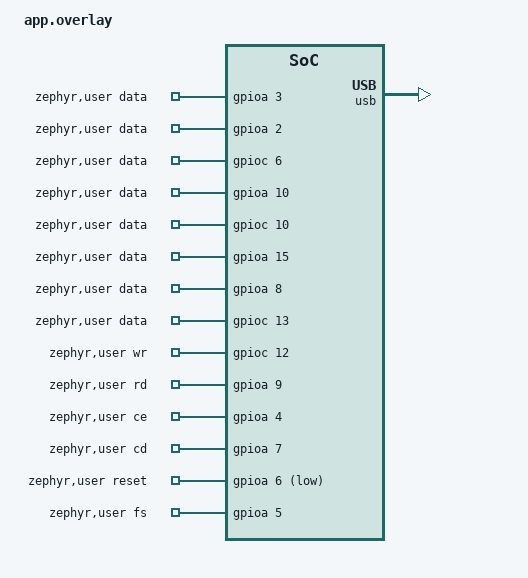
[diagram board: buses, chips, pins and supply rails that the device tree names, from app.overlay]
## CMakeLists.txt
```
# SPDX-License-Identifier: Apache-2.0
cmake_minimum_required(VERSION 3.28.0)

set(BOARD_ROOT ${CMAKE_CURRENT_LIST_DIR}/../..)
find_package(Zephyr REQUIRED HINTS $ENV{ZEPHYR_BASE})
project(tlx_711a)

set(CGROM_SOURCE ${CMAKE_CURRENT_LIST_DIR}/../../docs/CG_RAM0101.txt)
set(CGROM_HEADER ${CMAKE_CURRENT_BINARY_DIR}/generated/cgrom_0101.h)
add_custom_command(
	OUTPUT ${CGROM_HEADER}
	COMMAND ${Python3_EXECUTABLE} ${CMAKE_CURRENT_LIST_DIR}/tools/generate_cgrom.py
		${CGROM_SOURCE} ${CGROM_HEADER}
	DEPENDS ${CGROM_SOURCE} ${CMAKE_CURRENT_LIST_DIR}/tools/generate_cgrom.py
)
add_custom_target(tlx711a_cgrom DEPENDS ${CGROM_HEADER})

target_sources(app PRIVATE
	src/main.c
	src/lcd_bus.c
	src/t6963_emulator.c
	src/transport.c
)

add_dependencies(app tlx711a_cgrom)
target_include_directories(app PRIVATE ${CMAKE_CURRENT_BINARY_DIR}/generated)

target_include_directories(app PRIVATE src)
```

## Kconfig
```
# SPDX-License-Identifier: Apache-2.0

menu "TLX-711A virtual display"

config TLX711A_STATUS_BUSY
	bool "Report T6963 busy status while processing"
	default n

endmenu

source "Kconfig.zephyr"
```

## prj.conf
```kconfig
# SPDX-License-Identifier: Apache-2.0
CONFIG_GPIO=y
CONFIG_SERIAL=y
CONFIG_UART_INTERRUPT_DRIVEN=y
CONFIG_UART_LINE_CTRL=y
CONFIG_UART_USE_RUNTIME_CONFIGURE=y
CONFIG_USB_DEVICE_STACK=y
CONFIG_USB_DEVICE_INITIALIZE_AT_BOOT=y
CONFIG_USB_DEVICE_PRODUCT="TLX-711A virtual display"
CONFIG_USB_CDC_ACM=y
CONFIG_MAIN_STACK_SIZE=2048
CONFIG_SYSTEM_WORKQUEUE_STACK_SIZE=2048
CONFIG_LOG=n
CONFIG_PRINTK=y
```

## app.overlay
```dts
/* SPDX-License-Identifier: Apache-2.0 */
#include <zephyr/dt-bindings/gpio/gpio.h>

/ {
	zephyr,user {
		cdc-baudrate = <256000>;
		/* Nucleo-WB55RG Arduino header mapping. */
		data-gpios = <&gpioa 3 0>,  /* D0 */
				     <&gpioa 2 0>,  /* D1 */
				     <&gpioc 6 0>,  /* D2 */
				     <&gpioa 10 0>, /* D3 */
				     <&gpioc 10 0>, /* D4 */
				     <&gpioa 15 0>, /* D5 */
				     <&gpioa 8 0>,  /* D6 */
				     <&gpioc 13 0>; /* D7 */
		wr-gpios = <&gpioc 12 0>; /* D8 */
		rd-gpios = <&gpioa 9 0>;  /* D9 */
		ce-gpios = <&gpioa 4 0>;  /* D10 */
		cd-gpios = <&gpioa 7 0>;  /* D11 */
		reset-gpios = <&gpioa 6 GPIO_ACTIVE_LOW>; /* D12 */
		fs-gpios = <&gpioa 5 0>;   /* D13 */
		pixels-horizontal = <240>;
		pixels-vertical = <64>;
	};

	chosen {
	};
};

/* Native USB is the transport because D10/PB6 is occupied by LCD /CE. */
&usb {
	status = "okay";
	cdc_acm_uart0: cdc_acm_uart0 {
		compatible = "zephyr,cdc-acm-uart";
		label = "CDC_ACM_0";
		status = "okay";
	};
};

/* SPI1 claims Arduino D10, D11, and D13, which are LCD /CE, C/D, and FS. */
&spi1 {
	status = "disabled";
};

/ {
	chosen {
		zephyr,console = &cdc_acm_uart0;
		zephyr,shell-uart = &cdc_acm_uart0;
	};
};
```

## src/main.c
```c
/* SPDX-License-Identifier: Apache-2.0 */
/** @file @brief Host-controlled T6963 LCD emulator application entry point. */
#include <errno.h>
#include <zephyr/device.h>
#include <zephyr/drivers/gpio.h>
#include <zephyr/kernel.h>
#include <zephyr/sys/printk.h>
#include <string.h>

#include "lcd_bus.h"
#include "t6963_emulator.h"
#include "transport.h"
#include "lcd_bus.h"

static struct t6963_emulator emulator;
static uint8_t emulator_memory[8192];
static uint8_t frame[TLX711A_FRAME_SIZE];
static uint8_t last_frame[TLX711A_FRAME_SIZE];
static volatile bool frame_pending;
static volatile bool frame_sending;
static bool frame_sent;
static const struct gpio_dt_spec status_led = GPIO_DT_SPEC_GET(DT_ALIAS(led1), gpios);

static void emulator_init(void)
{
	static const struct t6963_emulator_config config = {
		.memory_size = sizeof(emulator_memory),
		.hardware_columns = 40U,
		.text_rows = 8U,
		.font_width = 6U,
		.text_area = 40U,
		.graphics_area = 40U,
	};

	(void)t6963_emulator_init_config(&emulator, &config, emulator_memory,
		sizeof(emulator_memory), frame, sizeof(frame));
}

static int led_init(void)
{
	if (!device_is_ready(status_led.port)) {
		return -ENODEV;
	}
	return gpio_pin_configure_dt(&status_led, GPIO_OUTPUT_INACTIVE);
}

static void led_set(bool on)
{
	(void)gpio_pin_set_dt(&status_led, on);
}

static void error_blink(uint32_t on_ms, uint32_t off_ms)
{
	led_set(true);
	k_msleep(on_ms);
	led_set(false);
	k_msleep(off_ms);
}

static void lcd_transaction(bool command, uint8_t value)
{
	if (command) t6963_emulator_command(&emulator, value);
	else t6963_emulator_data(&emulator, value);
	frame_pending = true;
}

static void lcd_reset(void)
{
	emulator_init();
	frame_pending = true;
}

static uint8_t lcd_read(bool command)
{
	return command ? t6963_emulator_read_status(&emulator)
		       : t6963_emulator_read_data(&emulator);
}

static size_t frame_nonzero_bytes(const uint8_t *value, size_t length)
{
	size_t count = 0U;
	for (size_t index = 0U; index < length; ++index) {
		if (value[index] != 0U) ++count;
	}
	return count;
}

int main(void)
{
	int ret;

	ret = led_init();
	if (ret != 0) {
		return ret;
	}
	emulator_init();
	/* The CDC device is initialized by Zephyr before main(). */
	ret = transport_init();
	if (ret != 0) {
		transport_send_info("ERROR: transport init failed");
		while (true) {
			error_blink(100, 900);
		}
	}
	ret = lcd_bus_init(lcd_transaction, lcd_read, lcd_reset);
	if (ret != 0) {
		transport_send_info("ERROR: LCD bus init failed");
		while (true) {
			error_blink(300, 300);
		}
	}
	transport_send_info("TLX-711A emulator ready");
	uint32_t last_ce_count = 0U;
	uint32_t last_write_count = 0U;
	uint32_t last_read_count = 0U;
	uint32_t last_wr_edge_count = 0U;
	uint32_t reported_write_count = 0U;
	int last_font_width = 0;
	while (true) {
		int font_width = lcd_bus_font_width();
		if (font_width > 0 && font_width != last_font_width) {
			char message[96];
			last_font_width = font_width;
			t6963_emulator_set_font_width(&emulator, (uint8_t)font_width);
			frame_pending = true;
			snprintk(message, sizeof(message),
				"FS=%d font width=%d text area=%d graphics area=%d",
				font_width == 6 ? 1 : 0, font_width,
				240 / font_width, 240 / font_width);
			transport_send_info(message);
		}
		led_set(true);
		if (frame_pending) {
			unsigned int key = irq_lock();
			frame_pending = false;
			frame_sending = true;
			irq_unlock(key);
		t6963_emulator_frame(&emulator, frame, sizeof(frame));
			if (!frame_sent || memcmp(frame, last_frame, sizeof(frame)) != 0) {
				transport_send_frame(frame, sizeof(frame));
				memcpy(last_frame, frame, sizeof(frame));
				frame_sent = true;
				transport_send_info("framebuffer updated");
				char message[128];
				snprintk(message, sizeof(message),
					"framebuffer nonzero bytes=%u",
					(unsigned int)frame_nonzero_bytes(frame, sizeof(frame)));
				transport_send_info(message);
				struct t6963_memory_stats stats;
				t6963_emulator_memory_stats(&emulator, &stats);
				snprintk(message, sizeof(message),
					"text nonzero=%u range=0x%04x-0x%04x graphics nonzero=%u range=0x%04x-0x%04x",
					(unsigned int)stats.text_nonzero,
					(unsigned int)stats.text_first_address,
					(unsigned int)stats.text_last_address,
					(unsigned int)stats.graphics_nonzero,
					(unsigned int)stats.graphics_first_address,
					(unsigned int)stats.graphics_last_address);
				transport_send_info(message);
			}
			key = irq_lock();
			frame_sending = false;
			bool again = frame_pending;
			irq_unlock(key);
			if (again) continue;
		}
		if (lcd_bus_ce_count() != last_ce_count ||
		    lcd_bus_write_count() != last_write_count ||
		    lcd_bus_read_count() != last_read_count ||
		    lcd_bus_wr_edge_count() != last_wr_edge_count) {
			char message[96];
			last_ce_count = lcd_bus_ce_count();
			last_write_count = lcd_bus_write_count();
			last_read_count = lcd_bus_read_count();
			last_wr_edge_count = lcd_bus_wr_edge_count();
			snprintk(message, sizeof(message),
				"bus ce=%u wr_edges=%u writes=%u reads=%u",
				(unsigned int)last_ce_count,
				(unsigned int)last_wr_edge_count,
				(unsigned int)last_write_count,
				(unsigned int)last_read_count);
			transport_send_info(message);
		}
		if (lcd_bus_write_count() != reported_write_count) {
			char message[96];
			reported_write_count = lcd_bus_write_count();
			snprintk(message, sizeof(message), "lcd write %s value=0x%02x",
				lcd_bus_last_write_command() ? "command" : "data",
				(unsigned int)lcd_bus_last_write_value());
			transport_send_info(message);
		}
		k_msleep(250);
		led_set(false);
		k_msleep(250);
	}
}
```

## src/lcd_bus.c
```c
/* SPDX-License-Identifier: Apache-2.0 */
#include "lcd_bus.h"

#include <errno.h>
#include <zephyr/device.h>
#include <zephyr/drivers/gpio.h>
#include <zephyr/kernel.h>
#include <zephyr/sys/util.h>

#define DATA_COUNT 8U

static const struct gpio_dt_spec data_pins[DATA_COUNT] = {
	GPIO_DT_SPEC_GET_BY_IDX(DT_PATH(zephyr_user), data_gpios, 0),
	GPIO_DT_SPEC_GET_BY_IDX(DT_PATH(zephyr_user), data_gpios, 1),
	GPIO_DT_SPEC_GET_BY_IDX(DT_PATH(zephyr_user), data_gpios, 2),
	GPIO_DT_SPEC_GET_BY_IDX(DT_PATH(zephyr_user), data_gpios, 3),
	GPIO_DT_SPEC_GET_BY_IDX(DT_PATH(zephyr_user), data_gpios, 4),
	GPIO_DT_SPEC_GET_BY_IDX(DT_PATH(zephyr_user), data_gpios, 5),
	GPIO_DT_SPEC_GET_BY_IDX(DT_PATH(zephyr_user), data_gpios, 6),
	GPIO_DT_SPEC_GET_BY_IDX(DT_PATH(zephyr_user), data_gpios, 7),
};
static const struct gpio_dt_spec cd = GPIO_DT_SPEC_GET(DT_PATH(zephyr_user), cd_gpios);
static const struct gpio_dt_spec wr = GPIO_DT_SPEC_GET(DT_PATH(zephyr_user), wr_gpios);
static const struct gpio_dt_spec rd = GPIO_DT_SPEC_GET(DT_PATH(zephyr_user), rd_gpios);
static const struct gpio_dt_spec ce = GPIO_DT_SPEC_GET(DT_PATH(zephyr_user), ce_gpios);
static const struct gpio_dt_spec reset_pin = GPIO_DT_SPEC_GET(DT_PATH(zephyr_user), reset_gpios);
static const struct gpio_dt_spec fs = GPIO_DT_SPEC_GET(DT_PATH(zephyr_user), fs_gpios);
static struct gpio_callback ce_callback;
static struct gpio_callback wr_callback;
static struct gpio_callback rd_callback;
static struct gpio_callback reset_callback;
static lcd_bus_transaction_cb transaction_callback;
static lcd_bus_read_cb read_callback;
static lcd_bus_reset_cb reset_callback_fn;
static volatile uint8_t read_response;
static volatile uint32_t ce_count;
static volatile uint32_t write_count;
static volatile uint32_t read_count;
static volatile bool cycle_write_seen;
static volatile bool cycle_read_seen;
static volatile bool pending_write;
static volatile bool pending_write_command;
static volatile uint8_t pending_write_value;
static volatile uint32_t wr_edge_count;
static volatile bool pending_read;
static volatile uint8_t last_write_command;
static volatile uint8_t last_write_value;

static int data_direction(bool output);
static uint8_t data_read(void);

static void capture_cycle(void)
{
	if (pending_write && !cycle_write_seen && transaction_callback != NULL) {
		cycle_write_seen = true;
		pending_write = false;
		++write_count;
		last_write_command = pending_write_command;
		last_write_value = pending_write_value;
		transaction_callback(pending_write_command, pending_write_value);
		return;
	}
	if (pending_read && !cycle_read_seen) {
		cycle_read_seen = true;
		pending_read = false;
		++read_count;
		if (read_callback != NULL) {
			read_response = read_callback(gpio_pin_get_dt(&cd) != 0);
		}
		if (data_direction(true) != 0) return;
		for (size_t index = 0U; index < DATA_COUNT; ++index) {
			(void)gpio_pin_set_dt(&data_pins[index],
				(read_response & BIT(index)) != 0);
		}
	}
}

static void write_handler(const struct device *port, struct gpio_callback *cb,
				  uint32_t pins)
{
	ARG_UNUSED(port); ARG_UNUSED(cb); ARG_UNUSED(pins);
	if (gpio_pin_get_dt(&wr) == 0) {
		++wr_edge_count;
		/* Hold the bus byte until /CE confirms a real LCD cycle. */
		pending_write_command = gpio_pin_get_dt(&cd) != 0;
		pending_write_value = data_read();
		pending_write = true;
	}
}

static void read_handler(const struct device *port, struct gpio_callback *cb,
				 uint32_t pins)
{
	ARG_UNUSED(port); ARG_UNUSED(cb); ARG_UNUSED(pins);
	if (gpio_pin_get_dt(&rd) == 0) {
		pending_read = true;
	}
	if (gpio_pin_get_dt(&rd) != 0) {
		(void)data_direction(false);
	}
}

static int data_direction(bool output)
{
	for (size_t index = 0U; index < DATA_COUNT; ++index) {
		/* The shared bus is released as high impedance whenever the dummy is
		 * not returning a read value. Do not add pull resistors to the bus. */
		int ret = gpio_pin_configure_dt(&data_pins[index],
			output ? GPIO_OUTPUT : GPIO_INPUT);
		if (ret != 0) return ret;
	}
	return 0;
}

static uint8_t data_read(void)
{
	uint8_t value = 0U;
	for (size_t index = 0U; index < DATA_COUNT; ++index) {
		if (gpio_pin_get_dt(&data_pins[index]) > 0) value |= BIT(index);
	}
	return value;
}

static void ce_handler(const struct device *port, struct gpio_callback *cb, uint32_t pins)
{
	ARG_UNUSED(port); ARG_UNUSED(cb); ARG_UNUSED(pins);
	++ce_count;
	/* This callback is registered for the falling edge. Do not re-sample CE:
	 * the interrupt may run after the short pulse has already ended. */
	cycle_write_seen = false;
	cycle_read_seen = false;
	if (pending_read) {
		capture_cycle();
		return;
	}
	/* /WR is shorter than the GPIO interrupt latency on this bus. For a cycle
	 * without a latched /RD, CE is the reliable write transaction boundary. */
	if (transaction_callback != NULL) {
		cycle_write_seen = true;
		++write_count;
		last_write_command = gpio_pin_get_dt(&cd) != 0;
		last_write_value = data_read();
		transaction_callback(last_write_command, last_write_value);
	}
}

uint32_t lcd_bus_ce_count(void)
{
	return ce_count;
}

uint32_t lcd_bus_write_count(void)
{
	return write_count;
}

uint32_t lcd_bus_read_count(void)
{
	return read_count;
}

uint32_t lcd_bus_wr_edge_count(void)
{
	return wr_edge_count;
}

uint8_t lcd_bus_last_write_command(void)
{
	return last_write_command;
}

uint8_t lcd_bus_last_write_value(void)
{
	return last_write_value;
}

int lcd_bus_control_levels(uint8_t *wr_level, uint8_t *rd_level,
				   uint8_t *ce_level, uint8_t *cd_level)
{
	if (wr_level == NULL || rd_level == NULL || ce_level == NULL || cd_level == NULL)
		return -EINVAL;
	*wr_level = (uint8_t)gpio_pin_get_dt(&wr);
	*rd_level = (uint8_t)gpio_pin_get_dt(&rd);
	*ce_level = (uint8_t)gpio_pin_get_dt(&ce);
	*cd_level = (uint8_t)gpio_pin_get_dt(&cd);
	return 0;
}

int lcd_bus_font_width(void)
{
	int level = gpio_pin_get_dt(&fs);
	if (level < 0) return level;
	return level != 0 ? 6 : 8;
}

static void reset_handler(const struct device *port, struct gpio_callback *cb,
				  uint32_t pins)
{
	ARG_UNUSED(port); ARG_UNUSED(cb); ARG_UNUSED(pins);
	if (gpio_pin_get_dt(&reset_pin) > 0 && reset_callback_fn != NULL)
		reset_callback_fn();
}

int lcd_bus_init(lcd_bus_transaction_cb transaction, lcd_bus_read_cb read,
			 lcd_bus_reset_cb reset)
{
	int ret;
	transaction_callback = transaction;
	read_callback = read;
	reset_callback_fn = reset;
	for (size_t index = 0U; index < DATA_COUNT; ++index) {
		if (!device_is_ready(data_pins[index].port)) return -ENODEV;
	}
	ret = data_direction(false);
	if (ret != 0) return ret;
	if (!device_is_ready(fs.port) || !device_is_ready(reset_pin.port)) return -ENODEV;
	ret = gpio_pin_configure_dt(&cd, GPIO_INPUT | GPIO_PULL_UP);
	if (ret != 0) return ret;
	ret = gpio_pin_configure_dt(&wr, GPIO_INPUT | GPIO_PULL_UP);
	if (ret != 0) return ret;
	ret = gpio_pin_configure_dt(&rd, GPIO_INPUT | GPIO_PULL_UP);
	if (ret != 0) return ret;
	ret = gpio_pin_configure_dt(&ce, GPIO_INPUT | GPIO_PULL_UP);
	if (ret != 0) return ret;
	ret = gpio_pin_configure_dt(&reset_pin, GPIO_INPUT | GPIO_PULL_UP);
	if (ret != 0) return ret;
	ret = gpio_pin_configure_dt(&fs, GPIO_INPUT);
	if (ret != 0) return ret;
	gpio_init_callback(&ce_callback, ce_handler, BIT(ce.pin));
	ret = gpio_add_callback(ce.port, &ce_callback);
	if (ret != 0) return ret;
	gpio_init_callback(&wr_callback, write_handler, BIT(wr.pin));
	ret = gpio_add_callback(wr.port, &wr_callback);
	if (ret != 0) return ret;
	gpio_init_callback(&rd_callback, read_handler, BIT(rd.pin));
	ret = gpio_add_callback(rd.port, &rd_callback);
	if (ret != 0) return ret;
	gpio_init_callback(&reset_callback, reset_handler, BIT(reset_pin.pin));
	ret = gpio_add_callback(reset_pin.port, &reset_callback);
	if (ret != 0) return ret;
	ret = gpio_pin_interrupt_configure_dt(&ce, GPIO_INT_EDGE_FALLING);
	if (ret != 0) return ret;
	ret = gpio_pin_interrupt_configure_dt(&wr, GPIO_INT_EDGE_BOTH);
	if (ret != 0) return ret;
	ret = gpio_pin_interrupt_configure_dt(&rd, GPIO_INT_EDGE_BOTH);
	if (ret != 0) return ret;
	return gpio_pin_interrupt_configure_dt(&reset_pin, GPIO_INT_EDGE_TO_ACTIVE);
}
```

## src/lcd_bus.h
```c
/* SPDX-License-Identifier: Apache-2.0 */
/** @file @brief Abstract the T6963 emulator's parallel LCD bus operations. */
#ifndef TLX711A_LCD_BUS_H
#define TLX711A_LCD_BUS_H

#include <stdbool.h>
#include <stdint.h>

typedef void (*lcd_bus_transaction_cb)(bool command, uint8_t value);
typedef uint8_t (*lcd_bus_read_cb)(bool command);
typedef void (*lcd_bus_reset_cb)(void);

/** @brief Install callbacks implementing LCD bus transactions and reset.
 * @param transaction Callback for command/data writes.
 * @param read Callback for command/data reads.
 * @param reset Callback for controller reset.
 * @return 0 on setup; negative errno for invalid callbacks.
 */
int lcd_bus_init(lcd_bus_transaction_cb transaction, lcd_bus_read_cb read,
                 lcd_bus_reset_cb reset);

/** @brief Get the number of chip-enable transitions observed.
 * @return Transition count.
 */
uint32_t lcd_bus_ce_count(void);

/** @brief Get the number of write transactions observed.
 * @return Write count.
 */
uint32_t lcd_bus_write_count(void);

/** @brief Get the number of read transactions observed.
 * @return Read count.
 */
uint32_t lcd_bus_read_count(void);

/** @brief Get the number of write-strobe edges observed.
 * @return Edge count.
 */
uint32_t lcd_bus_wr_edge_count(void);

/** @brief Get the last command/data selector used for a write.
 * @return Nonzero when the last bus write was a command, otherwise zero.
 */
uint8_t lcd_bus_last_write_command(void);

/** @brief Get the last value written on the bus.
 * @return Last data/command byte.
 */
uint8_t lcd_bus_last_write_value(void);

/** @brief Read current emulated WR/RD/CE/CD control levels.
 * @param wr Receives write-strobe level.
 * @param rd Receives read-strobe level.
 * @param ce Receives chip-enable level.
 * @param cd Receives command/data selector level.
 * @return 0 on read; negative errno for invalid outputs.
 */
int lcd_bus_control_levels(uint8_t *wr, uint8_t *rd, uint8_t *ce, uint8_t *cd);

/** @brief Get configured emulated LCD font width.
 * @return Font width in pixels.
 */
int lcd_bus_font_width(void);

#endif
```

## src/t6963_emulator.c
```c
/* SPDX-License-Identifier: Apache-2.0 */
#include "t6963_emulator.h"

#include <errno.h>
#include <string.h>

#include <zephyr/sys/util.h>

#include "cgrom_0101.h"

#define CMD_SET_CURSOR_POINTER 0x21U
#define CMD_SET_OFFSET 0x22U
#define CMD_SET_ADDRESS 0x24U
#define CMD_SET_TEXT_HOME 0x40U
#define CMD_SET_TEXT_AREA 0x41U
#define CMD_SET_GRAPHICS_HOME 0x42U
#define CMD_SET_GRAPHICS_AREA 0x43U
#define CMD_AUTO_WRITE 0xB0U
#define CMD_AUTO_READ 0xB1U
#define CMD_AUTO_RESET 0xB2U
#define CMD_DATA_WRITE 0xC0U
#define CMD_DATA_READ 0xC1U
#define CMD_DATA_WRITE_DECREMENT 0xC2U
#define CMD_DATA_READ_DECREMENT 0xC3U
#define CMD_DATA_WRITE_FIXED 0xC4U
#define CMD_DATA_READ_FIXED 0xC5U
#define CMD_SCREEN_PEEK 0xE0U
#define CMD_SCREEN_COPY 0xE8U

#define MODE_OR 0U
#define MODE_EXOR 1U
#define MODE_AND 3U
#define MODE_ATTRIBUTE 4U
#define MODE_EXTERNAL_CG BIT(3)

static uint8_t default_memory[8192];
static uint8_t default_frame[TLX711A_FRAME_SIZE];

static uint8_t ram_read(const struct t6963_emulator *emu, uint16_t address);

static uint16_t address_wrap(const struct t6963_emulator *emu, int32_t address)
{
	int32_t size = (int32_t)emu->memory_size;

	address %= size;
	if (address < 0) {
		address += size;
	}
	return (uint16_t)address;
}

static void mark_dirty(struct t6963_emulator *emu, uint16_t x0, uint16_t y0,
		uint16_t x1, uint16_t y1)
{
	if (emu->framebuffer_width == 0U || emu->framebuffer_height == 0U) {
		return;
	}
	x0 = MIN(x0, (uint16_t)(emu->framebuffer_width - 1U));
	y0 = MIN(y0, (uint16_t)(emu->framebuffer_height - 1U));
	x1 = MIN(x1, (uint16_t)(emu->framebuffer_width - 1U));
	y1 = MIN(y1, (uint16_t)(emu->framebuffer_height - 1U));
	if (x0 > x1 || y0 > y1) {
		return;
	}
	if (!emu->dirty) {
		emu->dirty_x0 = x0;
		emu->dirty_y0 = y0;
		emu->dirty_x1 = x1;
		emu->dirty_y1 = y1;
		emu->dirty = true;
		return;
	}
	emu->dirty_x0 = MIN(emu->dirty_x0, x0);
	emu->dirty_y0 = MIN(emu->dirty_y0, y0);
	emu->dirty_x1 = MAX(emu->dirty_x1, x1);
	emu->dirty_y1 = MAX(emu->dirty_y1, y1);
}

static void mark_all_dirty(struct t6963_emulator *emu)
{
	mark_dirty(emu, 0U, 0U, emu->framebuffer_width - 1U,
		emu->framebuffer_height - 1U);
}

static void mark_text_cell(struct t6963_emulator *emu, uint16_t column,
	uint16_t row)
{
	mark_dirty(emu, column * emu->font_width, row * 8U,
		(column + 1U) * emu->font_width - 1U, (row + 1U) * 8U - 1U);
}

static void mark_memory_change(struct t6963_emulator *emu, uint16_t address)
{
	uint32_t text_size = (uint32_t)emu->text_area * emu->config.text_rows;
	uint32_t graphics_size = (uint32_t)emu->graphics_area *
		emu->framebuffer_height;
	uint16_t relative;

	if (address >= emu->text_home && address < emu->text_home + text_size) {
		relative = (uint16_t)(address - emu->text_home);
		mark_text_cell(emu, relative % emu->text_area,
			relative / emu->text_area);
		return;
	}
	if (address >= emu->graphics_home &&
		address < emu->graphics_home + graphics_size) {
		relative = (uint16_t)(address - emu->graphics_home);
		uint16_t column = relative % emu->graphics_area;
		uint16_t row = relative / emu->graphics_area;
		if (emu->mode == MODE_ATTRIBUTE) {
			mark_text_cell(emu, column, row / 8U);
		} else {
			mark_dirty(emu, column * emu->font_width, row,
				(column + 1U) * emu->font_width - 1U, row);
		}
		return;
	}
	/* A CG byte can be used by multiple visible text cells. */
	uint16_t cg_base = (uint16_t)((emu->offset & 0x1FU) << 11);
	if (address >= cg_base && address < cg_base + 0x800U) {
		uint8_t character = (uint8_t)((address - cg_base) / 8U);
		for (uint16_t row = 0U; row < emu->config.text_rows; ++row) {
			for (uint16_t column = 0U; column < emu->text_area; ++column) {
				uint16_t text_address = (uint16_t)(emu->text_home +
					row * emu->text_area + column);
				if (ram_read(emu, text_address) == character) {
					mark_text_cell(emu, column, row);
				}
			}
		}
	}
}

static uint8_t ram_read(const struct t6963_emulator *emu, uint16_t address)
{
	return emu->memory[address_wrap(emu, address)];
}

static void ram_write(struct t6963_emulator *emu, uint16_t address, uint8_t value)
{
	uint16_t wrapped = address_wrap(emu, address);

	if (emu->memory[wrapped] == value) {
		return;
	}
	emu->memory[wrapped] = value;
	mark_memory_change(emu, wrapped);
}

static void advance_address(struct t6963_emulator *emu)
{
	emu->address = address_wrap(emu, (int32_t)emu->address + emu->address_step);
}

static uint8_t glyph_row(const struct t6963_emulator *emu, uint8_t character,
		uint8_t row)
{
	uint16_t base;

	if (row >= 8U) {
		return 0U;
	}
	if ((emu->mode & MODE_EXTERNAL_CG) == 0U && character < 0x80U) {
		return cgrom_0101[character][row];
	}
	base = (uint16_t)(((uint16_t)(emu->offset & 0x1FU) << 11) +
		(uint16_t)character * 8U);
	return ram_read(emu, (uint16_t)(base + row));
}

static bool text_bit(const struct t6963_emulator *emu, uint16_t x, uint16_t y,
		uint8_t *attribute)
{
	uint16_t column = x / emu->font_width;
	uint16_t row = y / 8U;
	uint16_t address;
	uint8_t character;
	uint8_t glyph;
	uint8_t bit;

	if (column >= emu->text_area || row >= emu->config.text_rows) {
		if (attribute != NULL) {
			*attribute = 0U;
		}
		return false;
	}
	address = (uint16_t)(emu->text_home + row * emu->text_area + column);
	character = ram_read(emu, address);
	if (attribute != NULL) {
		uint16_t attr_address = (uint16_t)(emu->graphics_home +
			row * emu->graphics_area + column);
		*attribute = ram_read(emu, attr_address);
	}
	glyph = glyph_row(emu, character, (uint8_t)(y % 8U));
	bit = (uint8_t)(emu->font_width - 1U - (x % emu->font_width));
	return (glyph & BIT(bit)) != 0U;
}

static bool graphics_bit(const struct t6963_emulator *emu, uint16_t x,
		uint16_t y)
{
	uint16_t address;
	uint8_t bit;

	if (x >= emu->framebuffer_width || y >= emu->framebuffer_height ||
		emu->graphics_area == 0U) {
		return false;
	}
	address = (uint16_t)(emu->graphics_home +
		y * emu->graphics_area + x / emu->font_width);
	bit = (uint8_t)(emu->font_width - 1U - (x % emu->font_width));
	return (ram_read(emu, address) & BIT(bit)) != 0U;
}

static bool composed_pixel(const struct t6963_emulator *emu, uint16_t x,
		uint16_t y)
{
	uint8_t attribute = 0U;
	bool text = text_bit(emu, x, y, &attribute);
	bool graphics = graphics_bit(emu, x, y);

	if ((emu->display_mode & BIT(2)) == 0U) {
		text = false;
	}
	if ((emu->display_mode & BIT(3)) == 0U || emu->mode == MODE_ATTRIBUTE) {
		graphics = false;
	}
	if (emu->mode == MODE_ATTRIBUTE) {
		switch (attribute & 0x0FU) {
		case 0x05U:
			text = !text;
			break;
		case 0x03U:
			text = false;
			break;
		case 0x08U:
		case 0x0DU:
		case 0x0BU:
			if (emu->blink_phase) {
				text = false;
			} else if ((attribute & 0x0FU) == 0x0DU) {
				text = !text;
			} else if ((attribute & 0x0FU) == 0x0BU) {
				text = false;
			}
			break;
		default:
			break;
		}
	}
	switch (emu->mode & 0x07U) {
	case MODE_EXOR:
		text = text ^ graphics;
		break;
	case MODE_AND:
		text = text & graphics;
		break;
	default:
		text = text | graphics;
		break;
	}
	if ((emu->display_mode & BIT(1)) != 0U &&
		x / emu->font_width == emu->cursor_x &&
		y / 8U == emu->cursor_y &&
		y % 8U >= 8U - emu->cursor_pattern) {
		if ((emu->display_mode & BIT(0)) == 0U || !emu->blink_phase) {
			text = true;
		}
	}
	return text;
}

static void framebuffer_set(struct t6963_emulator *emu, uint16_t x,
		uint16_t y, bool value)
{
	size_t index;
	uint8_t mask;
	uint8_t old;

	index = (size_t)y * ((emu->framebuffer_width + 7U) / 8U) + x / 8U;
	mask = BIT(x % 8U);
	old = emu->framebuffer[index];
	if (value) {
		emu->framebuffer[index] |= mask;
	} else {
		emu->framebuffer[index] &= (uint8_t)~mask;
	}
	if (old != emu->framebuffer[index]) {
		emu->framebuffer_changed = true;
	}
}

static void render_dirty(struct t6963_emulator *emu)
{
	if (!emu->dirty) {
		return;
	}
	for (uint16_t y = emu->dirty_y0; y <= emu->dirty_y1; ++y) {
		for (uint16_t x = emu->dirty_x0; x <= emu->dirty_x1; ++x) {
			framebuffer_set(emu, x, y, composed_pixel(emu, x, y));
		}
	}
	emu->dirty = false;
}

static void write_data_byte(struct t6963_emulator *emu, uint8_t data)
{
	ram_write(emu, emu->address, data);
	advance_address(emu);
}

static void set_word(uint16_t *value, const uint8_t *data)
{
	*value = (uint16_t)data[0] | ((uint16_t)data[1] << 8);
}

static bool address_in_graphics(const struct t6963_emulator *emu)
{
	uint32_t size = (uint32_t)emu->graphics_area * emu->framebuffer_height;
	uint32_t address = emu->address;
	uint32_t home = emu->graphics_home;

	return address >= home && address < home + size;
}

static uint8_t displayed_byte(const struct t6963_emulator *emu)
{
	uint16_t relative = (uint16_t)(emu->address - emu->graphics_home);
	uint16_t y = relative / emu->graphics_area;
	uint16_t column = relative % emu->graphics_area;
	uint8_t result = 0U;

	for (uint8_t bit = 0U; bit < emu->font_width; ++bit) {
		uint16_t x = (uint16_t)(column * emu->font_width + bit);
		if (x < emu->framebuffer_width && composed_pixel(emu, x, y)) {
			result |= BIT(emu->font_width - 1U - bit);
		}
	}
	return result;
}

int t6963_emulator_init_config(struct t6963_emulator *emu,
		const struct t6963_emulator_config *config,
		uint8_t *memory, size_t memory_size,
		uint8_t *framebuffer, size_t framebuffer_size)
{
	uint16_t width;
	uint16_t height;
	size_t required_frame;

	if (emu == NULL || config == NULL || memory == NULL || framebuffer == NULL ||
		memory_size != config->memory_size || memory_size < 2048U ||
		memory_size > 65536U || config->hardware_columns == 0U ||
		config->text_rows == 0U || config->font_width < 5U ||
		config->font_width > 8U || config->text_area == 0U ||
		config->graphics_area == 0U ||
		(config->hardware_columns != 32U && config->hardware_columns != 40U &&
		 config->hardware_columns != 64U && config->hardware_columns != 80U)) {
		return -EINVAL;
	}
	width = (uint16_t)(config->hardware_columns * config->font_width);
	height = (uint16_t)(config->text_rows * 8U);
	required_frame = (size_t)((width + 7U) / 8U) * height;
	if (framebuffer_size < required_frame ||
		config->text_area > UINT8_MAX || config->graphics_area > UINT8_MAX) {
		return -EINVAL;
	}
	memset(emu, 0, sizeof(*emu));
	emu->config = *config;
	emu->memory = memory;
	emu->memory_size = memory_size;
	emu->framebuffer = framebuffer;
	emu->framebuffer_size = framebuffer_size;
	emu->framebuffer_width = width;
	emu->framebuffer_height = height;
	emu->text_area = config->text_area;
	emu->graphics_area = config->graphics_area;
	emu->font_width = config->font_width;
	emu->address_step = 1;
	emu->cursor_pattern = 1U;
	memset(memory, 0, memory_size);
	memset(framebuffer, 0, framebuffer_size);
	mark_all_dirty(emu);
	return 0;
}

void t6963_emulator_init(struct t6963_emulator *emu)
{
	struct t6963_emulator_config config = {
		.memory_size = sizeof(default_memory),
		.hardware_columns = 40U,
		.text_rows = 8U,
		.font_width = 6U,
		.text_area = 40U,
		.graphics_area = 40U,
	};

	(void)t6963_emulator_init_config(emu, &config, default_memory,
		sizeof(default_memory), default_frame, sizeof(default_frame));
}

void t6963_emulator_set_font_width(struct t6963_emulator *emu, uint8_t width)
{
	if (emu == NULL || width < 5U || width > 8U) {
		return;
	}
	emu->font_width = width;
	emu->framebuffer_width = (uint16_t)(emu->config.hardware_columns * width);
	emu->text_area = (uint8_t)emu->config.hardware_columns;
	emu->graphics_area = (uint8_t)emu->config.hardware_columns;
	mark_all_dirty(emu);
}

void t6963_emulator_data(struct t6963_emulator *emu, uint8_t data)
{
	if (emu->auto_mode == 1U) {
		write_data_byte(emu, data);
		return;
	}
	if (emu->pending_count < ARRAY_SIZE(emu->pending_data)) {
		emu->pending_data[emu->pending_count++] = data;
	}
}

static void execute_bit_command(struct t6963_emulator *emu, uint8_t command)
{
	uint8_t bit = command & 0x07U;
	uint8_t value = ram_read(emu, emu->address);

	if ((command & BIT(3)) != 0U) {
		value |= BIT(bit);
	} else {
		value &= (uint8_t)~BIT(bit);
	}
	ram_write(emu, emu->address, value);
	mark_all_dirty(emu);
}

void t6963_emulator_command(struct t6963_emulator *emu, uint8_t command)
{
	if (emu == NULL || emu->memory == NULL) {
		return;
	}
	if (emu->auto_mode != 0U && command != CMD_AUTO_RESET) {
		return;
	}
	if (command == CMD_SET_CURSOR_POINTER && emu->pending_count >= 2U) {
		mark_dirty(emu, (uint16_t)emu->cursor_x * emu->font_width,
			(uint16_t)emu->cursor_y * 8U,
			(uint16_t)(emu->cursor_x + 1U) * emu->font_width - 1U,
			(uint16_t)(emu->cursor_y + 1U) * 8U - 1U);
		emu->cursor_x = emu->pending_data[0] & 0x7FU;
		emu->cursor_y = emu->pending_data[1] & 0x1FU;
		mark_dirty(emu, (uint16_t)emu->cursor_x * emu->font_width,
			(uint16_t)emu->cursor_y * 8U,
			(uint16_t)(emu->cursor_x + 1U) * emu->font_width - 1U,
			(uint16_t)(emu->cursor_y + 1U) * 8U - 1U);
	} else if (command == CMD_SET_OFFSET && emu->pending_count >= 1U) {
		emu->offset = emu->pending_data[0] & 0x1FU;
		mark_all_dirty(emu);
	} else if (command == CMD_SET_ADDRESS && emu->pending_count >= 2U) {
		set_word(&emu->address, emu->pending_data);
	} else if (command == CMD_SET_TEXT_HOME && emu->pending_count >= 2U) {
		set_word(&emu->text_home, emu->pending_data);
		mark_all_dirty(emu);
	} else if (command == CMD_SET_TEXT_AREA && emu->pending_count >= 1U) {
		emu->text_area = emu->pending_data[0];
		mark_all_dirty(emu);
	} else if (command == CMD_SET_GRAPHICS_HOME && emu->pending_count >= 2U) {
		set_word(&emu->graphics_home, emu->pending_data);
		mark_all_dirty(emu);
	} else if (command == CMD_SET_GRAPHICS_AREA && emu->pending_count >= 1U) {
		emu->graphics_area = emu->pending_data[0];
		mark_all_dirty(emu);
	} else if ((command & 0xF0U) == 0x80U) {
		emu->mode = command & 0x0FU;
		mark_all_dirty(emu);
	} else if ((command & 0xF0U) == 0x90U) {
		emu->display_mode = command & 0x0FU;
		mark_all_dirty(emu);
	} else if ((command & 0xF8U) == 0xA0U) {
		emu->cursor_pattern = (command & 0x07U) + 1U;
		mark_all_dirty(emu);
	} else if (command == CMD_AUTO_WRITE) {
		emu->auto_mode = 1U;
		emu->address_step = 1;
	} else if (command == CMD_AUTO_READ) {
		emu->auto_mode = 2U;
		emu->address_step = 1;
	} else if (command == CMD_AUTO_RESET) {
		emu->auto_mode = 0U;
		emu->data_read_pending = false;
	} else if ((command == CMD_DATA_WRITE || command == CMD_DATA_WRITE_DECREMENT ||
		command == CMD_DATA_WRITE_FIXED) && emu->pending_count >= 1U) {
		emu->address_step = command == CMD_DATA_WRITE_DECREMENT ? -1 :
			(command == CMD_DATA_WRITE_FIXED ? 0 : 1);
		write_data_byte(emu, emu->pending_data[0]);
	} else if (command == CMD_DATA_READ || command == CMD_DATA_READ_DECREMENT ||
		command == CMD_DATA_READ_FIXED) {
		emu->address_step = command == CMD_DATA_READ_DECREMENT ? -1 :
			(command == CMD_DATA_READ_FIXED ? 0 : 1);
		emu->data_read_pending = true;
	} else if (command == CMD_SCREEN_PEEK) {
		emu->screen_error = !address_in_graphics(emu);
		if (!emu->screen_error) {
			emu->read_latch = displayed_byte(emu);
			emu->read_latch_valid = true;
			emu->data_read_pending = true;
		}
	} else if (command == CMD_SCREEN_COPY) {
		if (!address_in_graphics(emu) || emu->config.dual_scan) {
			emu->screen_error = true;
		} else {
			ram_write(emu, emu->address, displayed_byte(emu));
			mark_all_dirty(emu);
		}
	} else if ((command & 0xF0U) == 0xF0U) {
		execute_bit_command(emu, command);
	}
	emu->pending_count = 0U;
}

uint8_t t6963_emulator_read_status(const struct t6963_emulator *emu)
{
	uint8_t status = BIT(0) | BIT(1) | BIT(5);

	if (emu == NULL) {
		return 0U;
	}
	if (emu->auto_mode == 1U) {
		status = BIT(3) | BIT(5);
	} else if (emu->auto_mode == 2U) {
		status = BIT(2) | BIT(5);
	}
	if (emu->screen_error) {
		status |= BIT(6);
	}
	if (emu->display_mode != 0U) {
		status |= BIT(7);
	}
	return status;
}

uint8_t t6963_emulator_read_data(struct t6963_emulator *emu)
{
	uint8_t value;

	if (emu == NULL || emu->memory == NULL) {
		return 0U;
	}
	if (emu->auto_mode == 2U) {
		value = ram_read(emu, emu->address);
		advance_address(emu);
		return value;
	}
	if (!emu->data_read_pending) {
		return 0U;
	}
	value = emu->screen_error ? 0U :
		(emu->read_latch_valid ? emu->read_latch : ram_read(emu, emu->address));
	if (!emu->read_latch_valid) {
		advance_address(emu);
	}
	emu->read_latch = 0U;
	emu->read_latch_valid = false;
	emu->data_read_pending = false;
	return value;
}

void t6963_emulator_frame(struct t6963_emulator *emu, uint8_t *frame,
		size_t capacity)
{
	if (emu == NULL || frame == NULL || capacity <
		(size_t)((emu->framebuffer_width + 7U) / 8U) * emu->framebuffer_height) {
		return;
	}
	render_dirty(emu);
	memcpy(frame, emu->framebuffer,
		(size_t)((emu->framebuffer_width + 7U) / 8U) * emu->framebuffer_height);
}

bool t6963_emulator_frame_changed(const struct t6963_emulator *emu)
{
	return emu != NULL && emu->framebuffer_changed;
}

void t6963_emulator_clear_frame_changed(struct t6963_emulator *emu)
{
	if (emu != NULL) {
		emu->framebuffer_changed = false;
	}
}

void t6963_emulator_set_blink_phase(struct t6963_emulator *emu, bool phase)
{
	if (emu != NULL && emu->blink_phase != phase) {
		emu->blink_phase = phase;
		mark_all_dirty(emu);
	}
}

void t6963_emulator_memory_stats(const struct t6963_emulator *emu,
		struct t6963_memory_stats *stats)
{
	uint16_t address;
	uint32_t graphics_size;

	if (emu == NULL || stats == NULL) {
		return;
	}
	memset(stats, 0, sizeof(*stats));
	stats->text_first_address = UINT16_MAX;
	stats->graphics_first_address = UINT16_MAX;
	for (uint16_t row = 0U; row < emu->config.text_rows; ++row) {
		for (uint16_t column = 0U; column < emu->text_area; ++column) {
			address = (uint16_t)(emu->text_home + row * emu->text_area + column);
			if (ram_read(emu, address) == 0U) continue;
			stats->text_nonzero++;
			stats->text_first_address = MIN(stats->text_first_address, address);
			stats->text_last_address = MAX(stats->text_last_address, address);
		}
	}
	graphics_size = (uint32_t)emu->graphics_area * emu->framebuffer_height;
	for (uint32_t index = 0U; index < graphics_size; ++index) {
		address = (uint16_t)(emu->graphics_home + index);
		if (ram_read(emu, address) == 0U) continue;
		stats->graphics_nonzero++;
		stats->graphics_first_address = MIN(stats->graphics_first_address, address);
		stats->graphics_last_address = MAX(stats->graphics_last_address, address);
	}
}
```

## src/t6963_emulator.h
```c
/* SPDX-License-Identifier: Apache-2.0 */
/** @file @brief Emulate T6963 controller commands, memory, and display state. */
#ifndef TLX711A_T6963_EMULATOR_H
#define TLX711A_T6963_EMULATOR_H

#include <stdbool.h>
#include <stddef.h>
#include <stdint.h>

#define TLX711A_WIDTH 240U
#define TLX711A_HEIGHT 64U
#define TLX711A_ROW_BYTES ((TLX711A_WIDTH + 7U) / 8U)
#define TLX711A_FRAME_SIZE (TLX711A_HEIGHT * TLX711A_ROW_BYTES)

struct t6963_emulator_config {
	size_t memory_size;
	uint16_t hardware_columns;
	uint16_t text_rows;
	uint8_t font_width;
	uint8_t text_area;
	uint8_t graphics_area;
	bool dual_scan;
};

struct t6963_emulator {
	struct t6963_emulator_config config;
	uint8_t *memory;
	size_t memory_size;
	uint8_t *framebuffer;
	size_t framebuffer_size;
	uint16_t framebuffer_width;
	uint16_t framebuffer_height;
	uint16_t address;
	uint16_t text_home;
	uint16_t graphics_home;
	uint8_t text_area;
	uint8_t graphics_area;
	uint8_t font_width;
	uint8_t offset;
	uint8_t mode;
	uint8_t display_mode;
	uint8_t cursor_x;
	uint8_t cursor_y;
	uint8_t cursor_pattern;
	uint8_t pending_data[2];
	uint8_t pending_count;
	int8_t address_step;
	uint8_t auto_mode;
	bool data_read_pending;
	uint8_t read_latch;
	bool read_latch_valid;
	bool screen_error;
	bool blink_phase;
	bool dirty;
	uint16_t dirty_x0;
	uint16_t dirty_y0;
	uint16_t dirty_x1;
	uint16_t dirty_y1;
	bool framebuffer_changed;
};

struct t6963_memory_stats {
	uint16_t text_nonzero;
	uint16_t text_first_address;
	uint16_t text_last_address;
	uint16_t graphics_nonzero;
	uint16_t graphics_first_address;
	uint16_t graphics_last_address;
};

/** @brief Initialize emulator memory, framebuffer, and controller geometry.
 * @param emu Emulator state.
 * @param config Controller memory and display layout.
 * @param memory Backing controller memory buffer.
 * @param memory_size Backing memory capacity.
 * @param framebuffer Pixel buffer.
 * @param framebuffer_size Pixel buffer capacity.
 * @return 0 on init; negative errno if sizes/configuration are invalid.
 */
int t6963_emulator_init_config(struct t6963_emulator *emu,
		const struct t6963_emulator_config *config,
		uint8_t *memory, size_t memory_size,
		uint8_t *framebuffer, size_t framebuffer_size);

/** @brief Initialize an emulator with default controller configuration.
 * @param emu Emulator state.
 * @return None.
 */
void t6963_emulator_init(struct t6963_emulator *emu);

/** @brief Execute one controller command byte.
 * @param emu Emulator state.
 * @param command Command byte.
 * @return None.
 */
void t6963_emulator_command(struct t6963_emulator *emu, uint8_t command);

/** @brief Supply one data byte to the current controller command.
 * @param emu Emulator state.
 * @param data Data byte.
 * @return None.
 */
void t6963_emulator_data(struct t6963_emulator *emu, uint8_t data);

/** @brief Read controller status flags.
 * @param emu Emulator state.
 * @return Encoded status byte.
 */
uint8_t t6963_emulator_read_status(const struct t6963_emulator *emu);

/** @brief Read the next controller data byte.
 * @param emu Emulator state.
 * @return Data byte or controller-defined default when no read is pending.
 */
uint8_t t6963_emulator_read_data(struct t6963_emulator *emu);

/** @brief Copy the current pixel frame to caller storage.
 * @param emu Emulator state.
 * @param frame Destination buffer.
 * @param capacity Destination capacity.
 * @return None; copy is bounded by available framebuffer and capacity.
 */
void t6963_emulator_frame(struct t6963_emulator *emu,
		uint8_t *frame, size_t capacity);

/** @brief Check whether framebuffer contents changed since acknowledgment.
 * @param emu Emulator state.
 * @return True when changed.
 */
bool t6963_emulator_frame_changed(const struct t6963_emulator *emu);

/** @brief Clear the framebuffer-changed indicator.
 * @param emu Emulator state.
 * @return None.
 */
void t6963_emulator_clear_frame_changed(struct t6963_emulator *emu);

/** @brief Set the controller's cursor blink visibility phase.
 * @param emu Emulator state.
 * @param phase True when cursor should be visible.
 * @return None.
 */
void t6963_emulator_set_blink_phase(struct t6963_emulator *emu, bool phase);

/** @brief Set the emulated character font width.
 * @param emu Emulator state.
 * @param width Font width in pixels.
 * @return None.
 */
void t6963_emulator_set_font_width(struct t6963_emulator *emu, uint8_t width);

/** @brief Summarize nonzero text/graphics memory locations.
 * @param emu Emulator state.
 * @param stats Receives memory statistics.
 * @return None.
 */
void t6963_emulator_memory_stats(const struct t6963_emulator *emu,
		struct t6963_memory_stats *stats);

#endif
```

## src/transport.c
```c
/* SPDX-License-Identifier: Apache-2.0 */
#include "transport.h"

#include <errno.h>
#include <string.h>
#include <zephyr/device.h>
#include <zephyr/drivers/uart.h>
static const struct device *uart = DEVICE_DT_GET(DT_CHOSEN(zephyr_console));

int transport_init(void)
{
	return device_is_ready(uart) ? 0 : -ENODEV;
}

void transport_send_frame(const uint8_t *frame, uint16_t length)
{
	static const char prefix[] = "FB: [";
	static const char suffix[] = "]\r\n";
	for (size_t i = 0U; i < sizeof(prefix) - 1U; ++i)
		uart_poll_out(uart, prefix[i]);
	for (uint16_t i = 0U; i < length; ++i) uart_poll_out(uart, frame[i]);
	for (size_t i = 0U; i < sizeof(suffix) - 1U; ++i)
		uart_poll_out(uart, suffix[i]);
}

void transport_send_info(const char *message)
{
	static const char prefix[] = "INFO: ";
	if (message == NULL) return;
	for (size_t i = 0U; i < sizeof(prefix) - 1U; ++i)
		uart_poll_out(uart, prefix[i]);
	for (size_t i = 0U; i < strlen(message); ++i) uart_poll_out(uart, message[i]);
	uart_poll_out(uart, '\r');
	uart_poll_out(uart, '\n');
}
```

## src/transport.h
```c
/* SPDX-License-Identifier: Apache-2.0 */
/** @file @brief Define the command transport between TLX host and LCD emulator. */
#ifndef TLX711A_TRANSPORT_H
#define TLX711A_TRANSPORT_H

#include <stdint.h>

/** @brief Initialize the host command transport.
 * @return 0 on setup; negative errno if the transport cannot start.
 */
int transport_init(void);

/** @brief Send one encoded response frame to the host.
 * @param frame Frame bytes.
 * @param length Frame length.
 * @return None.
 */
void transport_send_frame(const uint8_t *frame, uint16_t length);

/** @brief Send a textual information message using the protocol framing.
 * @param message NUL-terminated text.
 * @return None.
 */
void transport_send_info(const char *message);

#endif
```
